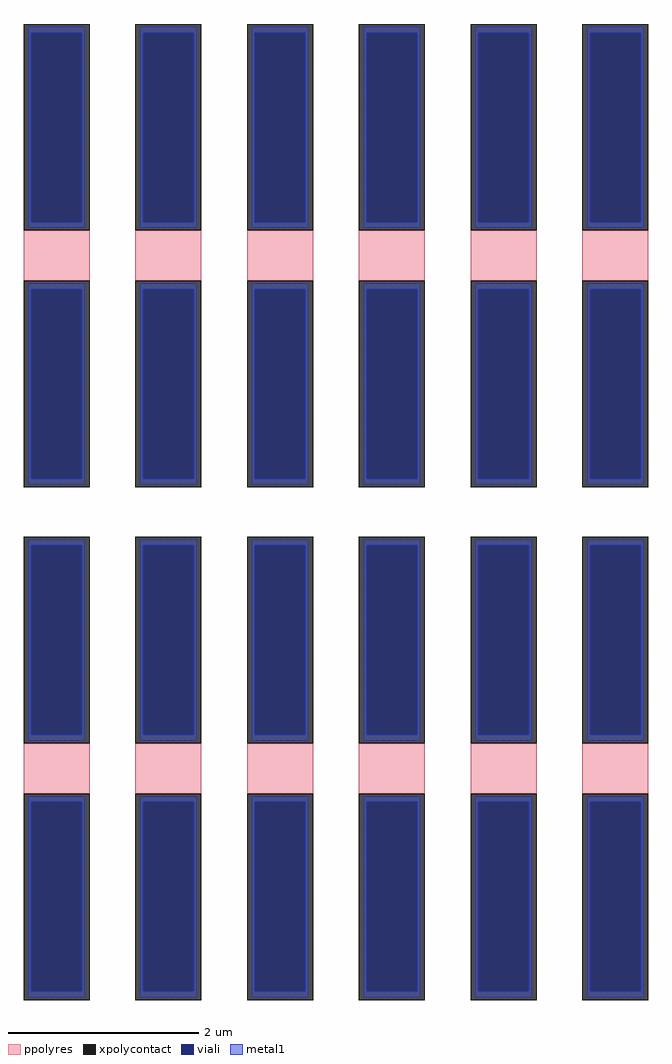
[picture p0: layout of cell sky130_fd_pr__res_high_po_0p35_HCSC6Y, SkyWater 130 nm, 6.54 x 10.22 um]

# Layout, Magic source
magic
tech sky130A
magscale 1 2
<< xpolycontact >>
rect -654 590 -516 1022
rect -654 52 -516 484
rect -420 590 -282 1022
rect -420 52 -282 484
rect -186 590 -48 1022
rect -186 52 -48 484
rect 48 590 186 1022
rect 48 52 186 484
rect 282 590 420 1022
rect 282 52 420 484
rect 516 590 654 1022
rect 516 52 654 484
rect -654 -484 -516 -52
rect -654 -1022 -516 -590
rect -420 -484 -282 -52
rect -420 -1022 -282 -590
rect -186 -484 -48 -52
rect -186 -1022 -48 -590
rect 48 -484 186 -52
rect 48 -1022 186 -590
rect 282 -484 420 -52
rect 282 -1022 420 -590
rect 516 -484 654 -52
rect 516 -1022 654 -590
<< ppolyres >>
rect -654 484 -516 590
rect -420 484 -282 590
rect -186 484 -48 590
rect 48 484 186 590
rect 282 484 420 590
rect 516 484 654 590
rect -654 -590 -516 -484
rect -420 -590 -282 -484
rect -186 -590 -48 -484
rect 48 -590 186 -484
rect 282 -590 420 -484
rect 516 -590 654 -484
<< viali >>
rect -638 607 -532 1004
rect -404 607 -298 1004
rect -170 607 -64 1004
rect 64 607 170 1004
rect 298 607 404 1004
rect 532 607 638 1004
rect -638 70 -532 467
rect -404 70 -298 467
rect -170 70 -64 467
rect 64 70 170 467
rect 298 70 404 467
rect 532 70 638 467
rect -638 -467 -532 -70
rect -404 -467 -298 -70
rect -170 -467 -64 -70
rect 64 -467 170 -70
rect 298 -467 404 -70
rect 532 -467 638 -70
rect -638 -1004 -532 -607
rect -404 -1004 -298 -607
rect -170 -1004 -64 -607
rect 64 -1004 170 -607
rect 298 -1004 404 -607
rect 532 -1004 638 -607
<< metal1 >>
rect -644 1004 -526 1016
rect -644 607 -638 1004
rect -532 607 -526 1004
rect -644 595 -526 607
rect -410 1004 -292 1016
rect -410 607 -404 1004
rect -298 607 -292 1004
rect -410 595 -292 607
rect -176 1004 -58 1016
rect -176 607 -170 1004
rect -64 607 -58 1004
rect -176 595 -58 607
rect 58 1004 176 1016
rect 58 607 64 1004
rect 170 607 176 1004
rect 58 595 176 607
rect 292 1004 410 1016
rect 292 607 298 1004
rect 404 607 410 1004
rect 292 595 410 607
rect 526 1004 644 1016
rect 526 607 532 1004
rect 638 607 644 1004
rect 526 595 644 607
rect -644 467 -526 479
rect -644 70 -638 467
rect -532 70 -526 467
rect -644 58 -526 70
rect -410 467 -292 479
rect -410 70 -404 467
rect -298 70 -292 467
rect -410 58 -292 70
rect -176 467 -58 479
rect -176 70 -170 467
rect -64 70 -58 467
rect -176 58 -58 70
rect 58 467 176 479
rect 58 70 64 467
rect 170 70 176 467
rect 58 58 176 70
rect 292 467 410 479
rect 292 70 298 467
rect 404 70 410 467
rect 292 58 410 70
rect 526 467 644 479
rect 526 70 532 467
rect 638 70 644 467
rect 526 58 644 70
rect -644 -70 -526 -58
rect -644 -467 -638 -70
rect -532 -467 -526 -70
rect -644 -479 -526 -467
rect -410 -70 -292 -58
rect -410 -467 -404 -70
rect -298 -467 -292 -70
rect -410 -479 -292 -467
rect -176 -70 -58 -58
rect -176 -467 -170 -70
rect -64 -467 -58 -70
rect -176 -479 -58 -467
rect 58 -70 176 -58
rect 58 -467 64 -70
rect 170 -467 176 -70
rect 58 -479 176 -467
rect 292 -70 410 -58
rect 292 -467 298 -70
rect 404 -467 410 -70
rect 292 -479 410 -467
rect 526 -70 644 -58
rect 526 -467 532 -70
rect 638 -467 644 -70
rect 526 -479 644 -467
rect -644 -607 -526 -595
rect -644 -1004 -638 -607
rect -532 -1004 -526 -607
rect -644 -1016 -526 -1004
rect -410 -607 -292 -595
rect -410 -1004 -404 -607
rect -298 -1004 -292 -607
rect -410 -1016 -292 -1004
rect -176 -607 -58 -595
rect -176 -1004 -170 -607
rect -64 -1004 -58 -607
rect -176 -1016 -58 -1004
rect 58 -607 176 -595
rect 58 -1004 64 -607
rect 170 -1004 176 -607
rect 58 -1016 176 -1004
rect 292 -607 410 -595
rect 292 -1004 298 -607
rect 404 -1004 410 -607
rect 292 -1016 410 -1004
rect 526 -607 644 -595
rect 526 -1004 532 -607
rect 638 -1004 644 -607
rect 526 -1016 644 -1004
<< properties >>
string gencell sky130_fd_pr__res_high_po_0p35
string library sky130
string parameters w 0.690 l 0.69 m 2 nx 6 wmin 0.690 lmin 0.50 rho 319.8 val 884.495 dummy 0 dw 0.0 term 194.82 sterm 0.0 caplen 0 guard 0 glc 1 grc 1 gtc 1 gbc 1 compatible {sky130_fd_pr__res_high_po_0p35  sky130_fd_pr__res_high_po_0p69 sky130_fd_pr__res_high_po_1p41  sky130_fd_pr__res_high_po_2p85 sky130_fd_pr__res_high_po_5p73} snake 0 full_metal 1 wmax 0.690 vias 1 n_guard 1 hv_guard 0 viagb 0 viagt 0 viagl 0 viagr 0
<< end >>
